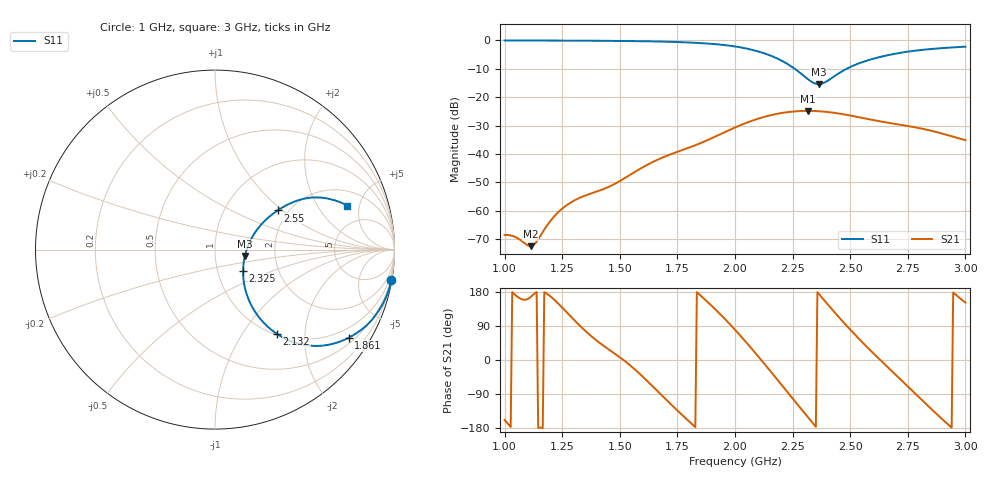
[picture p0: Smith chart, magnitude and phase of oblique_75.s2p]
! TOUCHSTONE file generated by CST MICROWAVE STUDIO
! Date and time: Tue Mar 18 00:01:32 2025
! Project name: oblique.cst
! Parameters = {Tilt=30; Fracture=1; B=12.5; D=160; F=15; Feed=2.85625; L=100; M=10; R=0.384908; S=1; Theta=270; length=57.125; wave=114.25}
! Header version: 2024
! Port assignment regex: !\s*Touchstone port\s*([0-9]+)\s*=\s*(CST MWS port|CST DES external port|CST DES block port)\s*(.+)\s* \(\"(.*)\"\)(\s*mode\s*([0-9]+))?.*
! Touchstone port assignment:
! Touchstone port 1 = CST MWS port 1 ("")
! Touchstone port 2 = CST MWS port 2 ("")
# GHz S DB R 50
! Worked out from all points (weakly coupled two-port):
!   303 points, 1 GHz to 3 GHz, reference 50 ohm
!   highest |S21| = -24.80 dB at 2.318 GHz (marker M1); lowest = -72.4 dB at 1.113 GHz (marker M2)
!   lowest |S11| = -15.4 dB at 2.364 GHz (marker M3), VSWR 1.41, Z = 69.8 - j4.99 ohm
!   |S11| at or under -10 dB: 2.259 GHz to 2.484 GHz (224.9 MHz wide, 9.48 % of centre)
!   S12 and S22 are empty: the file has one direction only
!   S11 on the Smith chart (normalised r, x): 1 GHz: 0, -12; 1.861 GHz: 0.67, -3.20; 2.132 GHz: 1.02, -1.44; 2.325 GHz: 1.32, -0.33; 2.55 GHz: 1.76, +0.92; 3 GHz: 3.07, +3.78
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1  -0.02 -9.8  -68.45 -158.2  -200.00 0.0  -200.00 0.0
1.04636  -0.03 -10.4  -69.18 171.6  -200.00 0.0  -200.00 0.0
1.11258  -0.03 -11.4  -72.41 166.1  -200.00 0.0  -200.00 0.0
1.13245  -0.04 -11.7  -71.47 176.8  -200.00 0.0  -200.00 0.0
1.19205  -0.05 -12.6  -64.23 171.3  -200.00 0.0  -200.00 0.0
1.23179  -0.06 -13.3  -60.53 149.5  -200.00 0.0  -200.00 0.0
1.33775  -0.09 -15.3  -54.98 84.0  -200.00 0.0  -200.00 0.0
1.46358  -0.16 -18.1  -51.10 23.2  -200.00 0.0  -200.00 0.0
1.66887  -0.39 -24.3  -41.80 -85.2  -200.00 0.0  -200.00 0.0
1.86093  -1.00 -33.4  -35.79 164.4  -200.00 0.0  -200.00 0.0
2  -2.13 -43.3  -30.66 79.9  -200.00 0.0  -200.00 0.0
2.13245  -4.71 -53.7  -26.78 -13.7  -200.00 0.0  -200.00 0.0
2.22517  -8.16 -57.1  -25.27 -82.8  -200.00 0.0  -200.00 0.0
2.31788  -13.74 -40.4  -24.80 -151.9  -200.00 0.0  -200.00 0.0
2.3245  -14.13 -37.3  -24.80 -156.8  -200.00 0.0  -200.00 0.0
2.33775  -14.81 -29.8  -24.83 -166.6  -200.00 0.0  -200.00 0.0
2.36424  -15.39 -11.8  -24.93 174.1  -200.00 0.0  -200.00 0.0
2.45695  -11.26 26.9  -25.81 108.9  -200.00 0.0  -200.00 0.0
2.54967  -7.72 32.0  -27.22 48.6  -200.00 0.0  -200.00 0.0
2.66887  -5.11 30.2  -29.04 -22.4  -200.00 0.0  -200.00 0.0
2.83444  -3.15 24.0  -31.46 -119.1  -200.00 0.0  -200.00 0.0
3  -2.21 18.4  -35.11 151.4  -200.00 0.0  -200.00 0.0
